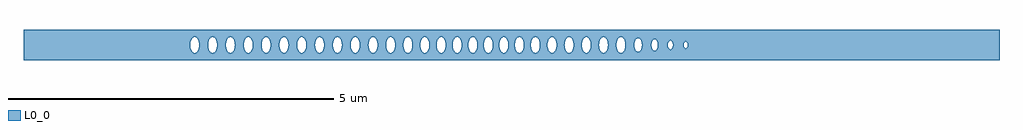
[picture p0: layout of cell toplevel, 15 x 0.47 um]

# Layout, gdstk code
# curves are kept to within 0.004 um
import gdstk
lib = gdstk.Library(unit=1e-6, precision=1e-09)
def P(c, l, *ps):  # polygons
    for p in ps: c.add(gdstk.Polygon(p, *l))
L0_0 = (0, 0)

toplevel = lib.new_cell('toplevel')
P(toplevel, L0_0, [(-4.368,-0.235),(-4.368,-0.09),(-4.382,-0.06),(-4.39,-0.016),(-4.384,0.053),(-4.368,0.09),(-4.368,0.235),(-7.5,0.235),(-7.5,0),(-4.939,0),(-4.934,0.046),(-4.919,0.085),(-4.902,0.109),(-4.873,0.124),(-4.846,0.118),(-4.817,0.085),(-4.801,0.038),(-4.798,-0.016),(-4.664,-0.016),(-4.661,0.038),(-4.651,0.073),(-4.628,0.109),(-4.598,0.124),(-4.572,0.118),(-4.549,0.096),(-4.532,0.06),(-4.524,0.016),(-4.528,-0.046),(-4.537,-0.073),(-4.56,-0.109),(-4.59,-0.124),(-4.616,-0.118),(-4.639,-0.096),(-4.656,-0.06),(-4.664,-0.016),(-4.798,-0.016),(-4.806,-0.06),(-4.83,-0.105),(-4.855,-0.122),(-4.881,-0.122),(-4.906,-0.105),(-4.925,-0.073),(-4.939,0),(-7.5,0),(-7.5,-0.235)],
  [(-4.361,0.1),(-4.342,0.118),(-4.324,0.124),(-4.302,0.12),(-4.282,0.105),(-4.254,0.046),(-4.25,-0.016),(-4.116,-0.016),(-4.11,0.053),(-4.091,0.096),(-4.068,0.118),(-4.033,0.122),(-4.008,0.105),(-3.991,0.079),(-3.98,0.046),(-3.975,-0.008),(-3.98,-0.046),(-3.994,-0.085),(-4.012,-0.109),(-4.041,-0.124),(-4.068,-0.118),(-4.091,-0.096),(-4.108,-0.06),(-4.116,-0.016),(-4.25,-0.016),(-4.263,-0.073),(-4.278,-0.1),(-4.298,-0.118),(-4.315,-0.124),(-4.333,-0.122),(-4.354,-0.109),(-4.368,-0.09),(-4.368,-0.235),(-3.75,-0.235),(-3.75,-0.118),(-3.776,-0.124),(-3.806,-0.109),(-3.829,-0.073),(-3.842,-0.016),(-3.839,0.038),(-3.817,0.096),(-3.785,0.122),(-3.767,0.124),(-3.75,0.118),(-3.75,0.235),(-4.368,0.235),(-4.368,0.09)],
  [(-3.75,0.235),(-3.75,0.118),(-3.717,0.079),(-3.703,0.031),(-3.701,-0.008),(-3.568,-0.008),(-3.565,0.038),(-3.555,0.073),(-3.532,0.109),(-3.502,0.124),(-3.476,0.118),(-3.449,0.09),(-3.432,0.046),(-3.427,0.008),(-3.429,-0.031),(-3.443,-0.079),(-3.464,-0.109),(-3.493,-0.124),(-3.519,-0.118),(-3.546,-0.09),(-3.563,-0.046),(-3.568,-0.008),(-3.701,-0.008),(-3.717,-0.079),(-3.75,-0.118),(-3.75,-0.235),(-3.164,-0.235),(-3.164,-0.067),(-3.193,-0.112),(-3.21,-0.122),(-3.237,-0.122),(-3.257,-0.109),(-3.275,-0.085),(-3.289,-0.046),(-3.294,-0.008),(-3.292,0.031),(-3.278,0.079),(-3.245,0.118),(-3.228,0.124),(-3.202,0.118),(-3.179,0.096),(-3.164,0.066),(-3.164,0.235)],
  [(-2.471,-0.235),(-2.471,0.235),(-3.164,0.235),(-3.164,0.065),(-3.153,-0.008),(-3.02,-0.008),(-3.018,0.031),(-3.004,0.079),(-2.983,0.109),(-2.954,0.124),(-2.928,0.118),(-2.904,0.096),(-2.882,0.038),(-2.879,-0.008),(-2.746,-0.008),(-2.741,0.046),(-2.73,0.079),(-2.709,0.109),(-2.68,0.124),(-2.653,0.118),(-2.63,0.096),(-2.613,0.06),(-2.605,0.016),(-2.608,-0.038),(-2.618,-0.073),(-2.641,-0.109),(-2.671,-0.124),(-2.697,-0.118),(-2.72,-0.096),(-2.737,-0.06),(-2.746,-0.008),(-2.879,-0.008),(-2.884,-0.046),(-2.904,-0.096),(-2.923,-0.115),(-2.945,-0.124),(-2.971,-0.118),(-2.998,-0.09),(-3.015,-0.046),(-3.02,-0.008),(-3.153,-0.008),(-3.164,-0.066),(-3.164,-0.235)],
  [(-1.927,0.016),(-1.919,0.06),(-1.902,0.096),(-1.902,0.235),(-2.471,0.235),(-2.471,0.016),(-2.463,0.06),(-2.446,0.096),(-2.423,0.118),(-2.397,0.124),(-2.367,0.109),(-2.344,0.073),(-2.334,0.038),(-2.331,-0.016),(-2.198,-0.016),(-2.195,0.038),(-2.179,0.085),(-2.15,0.118),(-2.123,0.124),(-2.094,0.109),(-2.076,0.085),(-2.062,0.046),(-2.057,0.008),(-2.062,-0.046),(-2.076,-0.085),(-2.094,-0.109),(-2.123,-0.124),(-2.15,-0.118),(-2.173,-0.096),(-2.19,-0.06),(-2.198,-0.016),(-2.331,-0.016),(-2.339,-0.06),(-2.363,-0.105),(-2.388,-0.122),(-2.414,-0.122),(-2.446,-0.096),(-2.463,-0.06),(-2.471,-0.018),(-2.471,-0.235),(-1.902,-0.235),(-1.902,-0.096),(-1.923,-0.046)],
  [(-1.895,0.105),(-1.862,0.124),(-1.844,0.122),(-1.823,0.109),(-1.796,0.06),(-1.787,-0.016),(-1.662,-0.016),(-1.658,0.046),(-1.637,0.096),(-1.61,0.12),(-1.579,0.122),(-1.554,0.105),(-1.535,0.073),(-1.526,0.046),(-1.522,-0.016),(-1.53,-0.06),(-1.547,-0.096),(-1.57,-0.118),(-1.588,-0.124),(-1.614,-0.118),(-1.637,-0.096),(-1.654,-0.06),(-1.662,-0.016),(-1.787,-0.016),(-1.8,-0.073),(-1.812,-0.096),(-1.831,-0.115),(-1.853,-0.124),(-1.871,-0.122),(-1.902,-0.096),(-1.902,-0.235),(-1.299,-0.235),(-1.299,-0.109),(-1.329,-0.124),(-1.346,-0.122),(-1.367,-0.109),(-1.39,-0.073),(-1.403,-0.016),(-1.397,0.053),(-1.371,0.105),(-1.337,0.124),(-1.32,0.122),(-1.299,0.109),(-1.299,0.235),(-1.902,0.235),(-1.902,0.096)],
  [(-1.299,0.235),(-1.299,0.109),(-1.271,0.06),(-1.263,-0.016),(-1.151,-0.016),(-1.148,0.038),(-1.138,0.073),(-1.115,0.109),(-1.085,0.124),(-1.059,0.118),(-1.032,0.09),(-1.015,0.046),(-1.01,0.008),(-1.012,-0.031),(-1.026,-0.079),(-1.047,-0.109),(-1.076,-0.124),(-1.102,-0.118),(-1.126,-0.096),(-1.138,-0.073),(-1.151,-0.016),(-1.263,-0.016),(-1.273,-0.066),(-1.299,-0.109),(-1.299,-0.235),(-0.765,-0.235),(-0.765,-0.016),(-0.783,-0.085),(-0.801,-0.109),(-0.83,-0.124),(-0.857,-0.118),(-0.88,-0.096),(-0.892,-0.073),(-0.905,-0.016),(-0.902,0.038),(-0.892,0.073),(-0.869,0.109),(-0.844,0.123),(-0.817,0.12),(-0.79,0.096),(-0.773,0.06),(-0.765,0.016),(-0.765,0.235)],
  [(-0.176,0.235),(-0.765,0.235),(-0.765,-0.016),(-0.664,-0.016),(-0.661,0.038),(-0.651,0.073),(-0.628,0.109),(-0.598,0.124),(-0.572,0.118),(-0.542,0.085),(-0.528,0.046),(-0.524,-0.016),(-0.426,-0.016),(-0.423,0.038),(-0.413,0.073),(-0.39,0.109),(-0.36,0.124),(-0.334,0.118),(-0.304,0.085),(-0.29,0.046),(-0.285,0),(-0.29,-0.046),(-0.304,-0.085),(-0.322,-0.109),(-0.351,-0.124),(-0.378,-0.118),(-0.401,-0.096),(-0.418,-0.06),(-0.426,-0.016),(-0.524,-0.016),(-0.542,-0.085),(-0.56,-0.109),(-0.589,-0.124),(-0.616,-0.118),(-0.639,-0.096),(-0.656,-0.06),(-0.664,-0.016),(-0.765,-0.016),(-0.765,-0.235),(-0.176,-0.235),(-0.176,-0.073),(-0.189,-0.016),(-0.186,0.038),(-0.176,0.072)],
  [(0.297,0.016),(0.305,0.06),(0.322,0.096),(0.345,0.118),(0.362,0.124),(0.362,0.235),(-0.176,0.235),(-0.176,0.073),(-0.164,0.096),(-0.14,0.118),(-0.123,0.124),(-0.097,0.118),(-0.064,0.079),(-0.05,0.031),(-0.048,-0.008),(0.05,-0.008),(0.052,0.031),(0.066,0.079),(0.087,0.109),(0.116,0.124),(0.143,0.118),(0.166,0.096),(0.178,0.073),(0.191,0.016),(0.188,-0.038),(0.178,-0.073),(0.155,-0.109),(0.13,-0.123),(0.103,-0.12),(0.076,-0.096),(0.059,-0.06),(0.05,-0.008),(-0.048,-0.008),(-0.064,-0.079),(-0.081,-0.105),(-0.105,-0.122),(-0.123,-0.124),(-0.145,-0.115),(-0.164,-0.096),(-0.176,-0.073),(-0.176,-0.235),(0.362,-0.235),(0.362,-0.124),(0.333,-0.109),(0.31,-0.073),(0.301,-0.046)],
  [(0.815,0.016),(0.833,0.085),(0.863,0.118),(0.88,0.124),(0.898,0.122),(0.93,0.096),(0.93,0.235),(0.362,0.235),(0.362,0.124),(0.389,0.118),(0.412,0.096),(0.431,0.053),(0.437,-0.008),(0.552,-0.008),(0.555,0.038),(0.565,0.073),(0.592,0.112),(0.618,0.124),(0.644,0.118),(0.671,0.09),(0.688,0.046),(0.693,0.008),(0.691,-0.031),(0.677,-0.079),(0.656,-0.109),(0.627,-0.124),(0.601,-0.118),(0.574,-0.09),(0.557,-0.046),(0.552,-0.008),(0.437,-0.008),(0.431,-0.053),(0.412,-0.096),(0.389,-0.118),(0.362,-0.124),(0.362,-0.235),(0.93,-0.235),(0.93,-0.096),(0.907,-0.118),(0.889,-0.124),(0.872,-0.122),(0.851,-0.109),(0.823,-0.06)],
  [(1.344,0.016),(1.352,0.06),(1.369,0.096),(1.392,0.118),(1.409,0.124),(1.436,0.118),(1.459,0.096),(1.476,0.06),(1.484,0.016),(1.484,0.235),(0.93,0.235),(0.93,0.096),(0.949,0.053),(0.955,-0.016),(1.079,-0.016),(1.082,0.038),(1.092,0.073),(1.115,0.109),(1.145,0.124),(1.171,0.118),(1.198,0.09),(1.215,0.046),(1.22,0.008),(1.218,-0.031),(1.204,-0.079),(1.183,-0.109),(1.154,-0.124),(1.128,-0.118),(1.104,-0.096),(1.092,-0.073),(1.079,-0.016),(0.955,-0.016),(0.947,-0.06),(0.93,-0.096),(0.93,-0.235),(1.484,-0.235),(1.484,-0.016),(1.476,-0.06),(1.459,-0.096),(1.436,-0.118),(1.409,-0.124),(1.38,-0.109),(1.357,-0.073),(1.348,-0.046)],
  [(1.751,-0.016),(1.743,-0.06),(1.726,-0.096),(1.703,-0.118),(1.686,-0.124),(1.659,-0.118),(1.636,-0.096),(1.619,-0.06),(1.611,-0.016),(1.484,-0.016),(1.484,-0.235),(2.187,-0.235),(2.187,-0.086),(2.161,-0.057),(2.149,-0.006),(2.157,0.048),(2.167,0.069),(2.187,0.086),(2.187,0.235),(1.484,0.235),(1.484,-0.016),(1.611,-0.016),(1.614,0.038),(1.624,0.073),(1.643,0.105),(1.672,0.123),(1.699,0.12),(1.726,0.096),(1.747,0.046),(1.752,0),(1.885,0),(1.891,0.045),(1.913,0.09),(1.946,0.107),(1.972,0.096),(1.993,0.068),(2.001,0.045),(2.006,-0.013),(1.993,-0.068),(1.965,-0.101),(1.938,-0.106),(1.913,-0.09),(1.891,-0.045),(1.885,0),(1.752,0)],
  [(2.193,0.088),(2.215,0.085),(2.237,0.061),(2.248,0.028),(2.25,-0.009),(2.402,-0.009),(2.411,0.046),(2.425,0.065),(2.44,0.072),(2.458,0.067),(2.474,0.046),(2.483,-0.003),(2.647,-0.003),(2.657,0.04),(2.669,0.052),(2.682,0.054),(2.702,0.035),(2.709,-0.007),(2.698,-0.042),(2.688,-0.052),(2.674,-0.054),(2.654,-0.035),(2.647,-0.003),(2.483,-0.003),(2.474,-0.046),(2.458,-0.067),(2.445,-0.072),(2.421,-0.061),(2.408,-0.038),(2.402,-0.009),(2.25,-0.009),(2.243,-0.048),(2.23,-0.072),(2.209,-0.088),(2.187,-0.086),(2.187,-0.235),(7.5,-0.235),(7.5,0.235),(2.187,0.235),(2.187,0.086)])

lib.write_gds('toplevel.gds')
